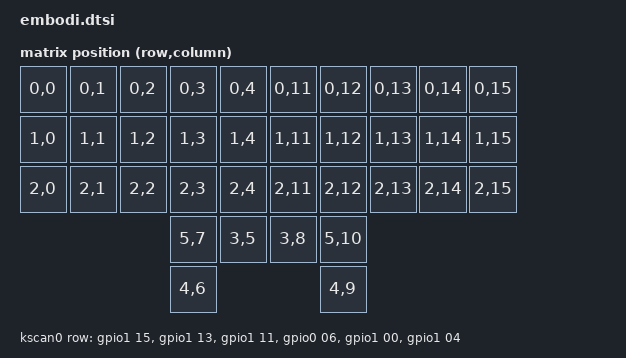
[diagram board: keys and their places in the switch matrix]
/*
 * Copyright (c) 2020 The ZMK Contributors
 *
 * SPDX-License-Identifier: MIT
 */

//  NOTE: this is the file that confuses me the most.

#include <dt-bindings/zmk/matrix_transform.h>

// ? seen elsewhere ? 
// &embodi_layout {
//     transform = <&default_transform>;
// };

/ {
	chosen {
		// Links zmk,matrix-transform to default_transform, which defines how the physical matrix maps to logical key positions.
		zmk,matrix-transform = &default_transform;	
		// Links zmk,kscan to kscan0, so ZMK knows which keyboard scanner to use.
		zmk,kscan = &kscan0;
	};

	// Define matrix transformation
	default_transform: keymap_transform_0 {
		compatible = "zmk,matrix-transform";
		columns = <16>;
		rows = <6>;
		// rhs needs to be offset to 
		map = <
			RC(0,0) RC(0,1) RC(0,2) RC(0,3) RC(0,4)   RC(0,11) RC(0,12) RC(0,13) RC(0,14) RC(0,15)
			RC(1,0) RC(1,1) RC(1,2) RC(1,3) RC(1,4)   RC(1,11) RC(1,12) RC(1,13) RC(1,14) RC(1,15)
			RC(2,0) RC(2,1) RC(2,2) RC(2,3) RC(2,4)   RC(2,11) RC(2,12) RC(2,13) RC(2,14) RC(2,15)
							        RC(5,7) RC(3,5)   RC(3,8)  RC(5,10)
								    RC(4,6)                    RC(4,9)
		
		>;	
        // Old: RC(4,3) RC(3,4) RC(3,5)  RC(3,6) RC(3,7) RC(3,8)
	};

	// Define keyboard scanning (kscan)
	kscan0: kscan {
		compatible = "zmk,kscan-gpio-matrix";
		// ? "col2row" means current flows from columns to rows
        diode-direction = "col2row";
		row-gpios 
		//  TODO: check col2row for thumb buttons?
			= <&gpio1 15 GPIO_ACTIVE_LOW>
			, <&gpio1 13 GPIO_ACTIVE_LOW>
			, <&gpio1 11 GPIO_ACTIVE_LOW>
			, <&gpio0 06 GPIO_ACTIVE_LOW>
			, <&gpio1 00 GPIO_ACTIVE_LOW>
			, <&gpio1 04 GPIO_ACTIVE_LOW>;
	};
};
